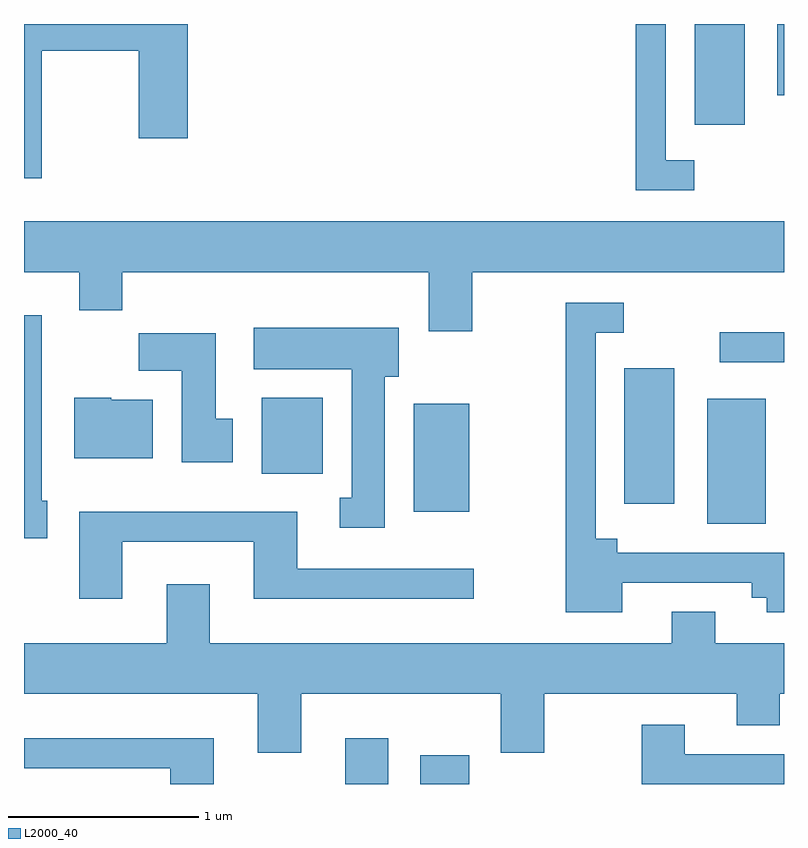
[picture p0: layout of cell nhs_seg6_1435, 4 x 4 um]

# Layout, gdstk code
import gdstk
lib = gdstk.Library(unit=1e-6, precision=1e-09)
def R(c, l, rs):  # rectangles x0, y0, x1, y1
    for r in rs: c.add(gdstk.rectangle(r[:2], r[2:], *l))
def P(c, l, *ps):  # polygons
    for p in ps: c.add(gdstk.Polygon(p, *l))
L2000_40 = (2000, 40)

nhs_seg6_1435 = lib.new_cell('nhs_seg6_1435')
R(nhs_seg6_1435, L2000_40, [(229.301,1616.162,229.529,1616.404), (229.696,1616.162,229.954,1616.314), (231.206,1617.531,231.514,1618.189), (229.661,1617.596,229.954,1618.164), (230.771,1617.636,231.034,1618.349), (228.861,1617.796,229.184,1618.194), (231.273,1618.381,231.611,1618.539), (231.141,1619.631,231.404,1620.162), (231.576,1619.786,231.611,1620.162)])
P(nhs_seg6_1435, L2000_40, [(231.138,1619.444),(230.989,1619.444),(230.989,1620.162),(230.831,1620.162),(230.831,1619.286),(231.138,1619.286)],
  [(227.704,1620.021),(228.216,1620.021),(228.216,1619.561),(228.474,1619.561),(228.474,1620.162),(227.611,1620.162),(227.611,1619.351),(227.704,1619.351)],
  [(229.969,1618.856),(231.611,1618.856),(231.611,1619.124),(227.611,1619.124),(227.611,1618.856),(227.901,1618.856),(227.901,1618.656),(228.129,1618.656),(228.129,1618.856),(229.741,1618.856),(229.741,1618.546),(229.969,1618.546)],
  [(230.759,1617.221),(231.441,1617.221),(231.441,1617.141),(231.521,1617.141),(231.521,1617.066),(231.611,1617.066),(231.611,1617.379),(230.734,1617.379),(230.734,1617.454),(230.619,1617.454),(230.619,1618.536),(230.768,1618.536),(230.768,1618.694),(230.461,1618.694),(230.461,1617.066),(230.759,1617.066)],
  [(227.734,1617.654),(227.704,1617.654),(227.704,1618.629),(227.611,1618.629),(227.611,1617.456),(227.734,1617.456)],
  [(229.509,1618.306),(229.584,1618.306),(229.584,1618.564),(228.821,1618.564),(228.821,1618.346),(229.336,1618.346),(229.336,1617.669),(229.273,1617.669),(229.273,1617.511),(229.509,1617.511)],
  [(228.709,1618.084),(228.619,1618.084),(228.619,1618.534),(228.216,1618.534),(228.216,1618.336),(228.441,1618.336),(228.441,1617.856),(228.709,1617.856)],
  [(228.289,1618.184),(228.07,1618.184),(228.07,1618.194),(227.876,1618.194),(227.876,1617.876),(228.289,1617.876)],
  [(228.129,1617.436),(228.821,1617.436),(228.821,1617.136),(229.978,1617.136),(229.978,1617.294),(229.049,1617.294),(229.049,1617.594),(227.901,1617.594),(227.901,1617.136),(228.129,1617.136)],
  [(229.069,1616.636),(230.121,1616.636),(230.121,1616.326),(230.349,1616.326),(230.349,1616.636),(231.361,1616.636),(231.361,1616.471),(231.589,1616.471),(231.589,1616.636),(231.611,1616.636),(231.611,1616.904),(231.249,1616.904),(231.249,1617.069),(231.021,1617.069),(231.021,1616.904),(228.589,1616.904),(228.589,1617.214),(228.361,1617.214),(228.361,1616.904),(227.611,1616.904),(227.611,1616.636),(228.841,1616.636),(228.841,1616.326),(229.069,1616.326)],
  [(231.611,1616.319),(231.089,1616.319),(231.089,1616.474),(230.861,1616.474),(230.861,1616.162),(231.611,1616.162)],
  [(228.609,1616.404),(227.611,1616.404),(227.611,1616.246),(228.381,1616.246),(228.381,1616.162),(228.609,1616.162)])

lib.write_gds('nhs_seg6_1435.gds')
